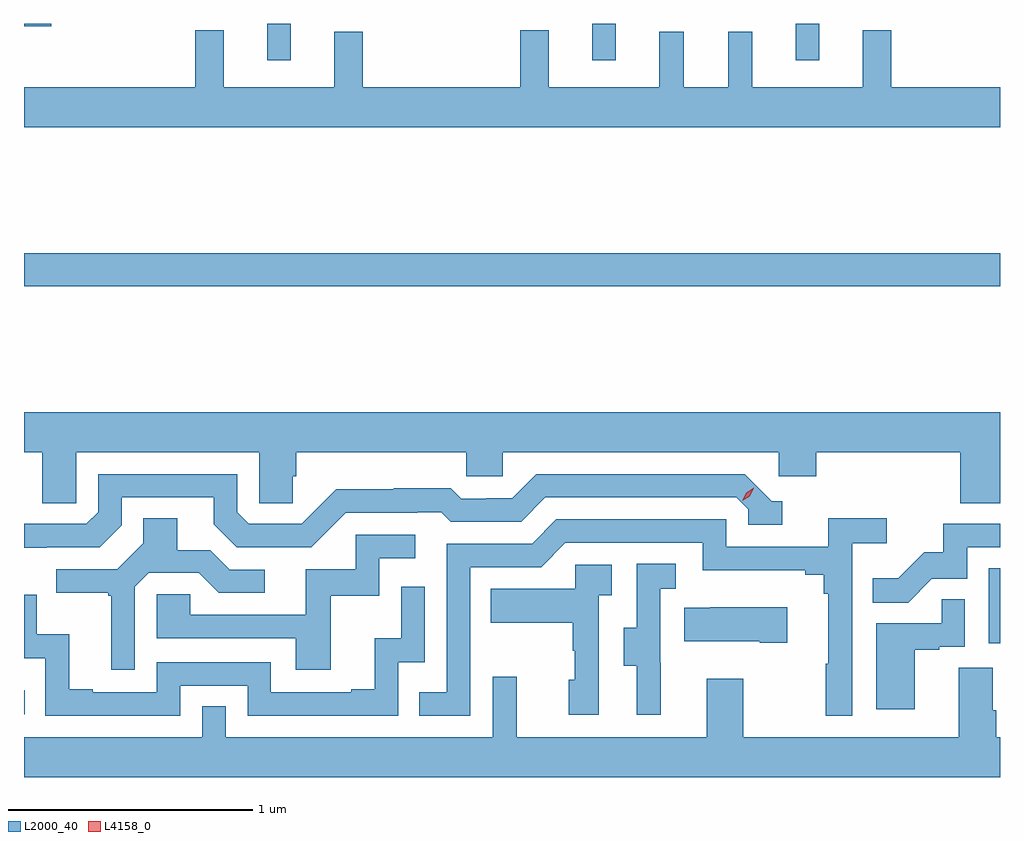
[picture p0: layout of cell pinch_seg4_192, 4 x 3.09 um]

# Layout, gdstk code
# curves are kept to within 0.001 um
import gdstk
lib = gdstk.Library(unit=1e-6, precision=1e-09)
def R(c, l, rs):  # rectangles x0, y0, x1, y1
    for r in rs: c.add(gdstk.rectangle(r[:2], r[2:], *l))
def P(c, l, *ps):  # polygons
    for p in ps: c.add(gdstk.Polygon(p, *l))
L2000_40 = (2000, 40)
L4158_0 = (4158, 0)

pinch_seg4_192 = lib.new_cell('pinch_seg4_192')
R(pinch_seg4_192, L2000_40, [(971.486,825.051,971.489,825.148), (975.44,825.342,975.486,825.649), (971.486,826.804,975.486,826.94), (972.482,827.73,972.579,827.881), (973.814,827.73,973.911,827.881), (974.649,827.73,974.746,827.881), (971.486,827.871,971.597,827.881)])
P(pinch_seg4_192, L2000_40, [(975.486,827.62),(975.041,827.62),(975.041,827.854),(974.924,827.854),(974.924,827.62),(974.471,827.62),(974.471,827.848),(974.372,827.848),(974.372,827.62),(974.189,827.62),(974.189,827.848),(974.09,827.848),(974.09,827.62),(973.637,827.62),(973.637,827.854),(973.519,827.854),(973.519,827.62),(972.875,827.62),(972.875,827.848),(972.758,827.848),(972.758,827.62),(972.305,827.62),(972.305,827.854),(972.187,827.854),(972.187,827.62),(971.486,827.62),(971.486,827.456),(975.486,827.456)],
  [(971.7,826.124),(972.45,826.124),(972.45,825.916),(972.587,825.916),(972.587,826.026),(972.602,826.026),(972.602,826.124),(973.299,826.124),(973.299,826.026),(973.449,826.026),(973.449,826.124),(974.58,826.124),(974.58,826.026),(974.732,826.026),(974.732,826.124),(975.323,826.124),(975.323,825.916),(975.486,825.916),(975.486,826.288),(971.486,826.288),(971.486,826.124),(971.561,826.124),(971.561,825.916),(971.7,825.916)],
  [(971.58,825.735),(971.796,825.735),(971.886,825.825),(971.886,825.939),(972.263,825.939),(972.263,825.829),(972.357,825.735),(972.663,825.735),(972.804,825.876),(973.097,825.876),(973.097,825.879),(973.196,825.879),(973.235,825.84),(973.524,825.84),(973.623,825.939),(974.406,825.939),(974.454,825.891),(974.454,825.828),(974.593,825.828),(974.593,825.924),(974.55,825.924),(974.439,826.035),(973.586,826.035),(973.487,825.936),(973.38,825.936),(973.38,825.933),(973.277,825.933),(973.235,825.976),(973.002,825.976),(973.002,825.973),(972.766,825.973),(972.624,825.831),(972.408,825.831),(972.36,825.879),(972.36,826.035),(971.79,826.035),(971.79,825.879),(971.742,825.831),(971.486,825.831),(971.486,825.734)],
  [(971.94,825.573),(971.997,825.63),(972.203,825.63),(972.284,825.549),(972.472,825.549),(972.472,825.642),(972.33,825.642),(972.25,825.722),(972.115,825.722),(972.115,825.854),(971.975,825.854),(971.975,825.752),(971.868,825.645),(971.619,825.645),(971.619,825.548),(971.832,825.548),(971.832,825.537),(971.843,825.537),(971.843,825.234),(971.94,825.234)],
  [(973.314,825.654),(973.605,825.654),(973.704,825.753),(974.268,825.753),(974.268,825.641),(974.687,825.641),(974.687,825.622),(974.764,825.622),(974.764,825.545),(974.783,825.545),(974.783,825.257),(974.772,825.257),(974.772,825.045),(974.88,825.045),(974.88,825.752),(975.022,825.752),(975.022,825.854),(974.783,825.854),(974.783,825.738),(974.364,825.738),(974.364,825.849),(973.667,825.849),(973.568,825.75),(973.218,825.75),(973.218,825.141),(973.105,825.141),(973.105,825.045),(973.314,825.045)],
  [(975.207,825.606),(975.351,825.606),(975.351,825.735),(975.486,825.735),(975.486,825.831),(975.253,825.831),(975.253,825.714),(975.176,825.714),(975.069,825.607),(974.965,825.607),(974.965,825.508),(975.109,825.508)],
  [(972.743,825.537),(972.942,825.537),(972.942,825.69),(973.09,825.69),(973.09,825.786),(972.846,825.786),(972.846,825.645),(972.641,825.645),(972.641,825.459),(972.167,825.459),(972.167,825.543),(972.03,825.543),(972.03,825.363),(972.599,825.363),(972.599,825.234),(972.743,825.234)],
  [(974.096,825.261),(974.094,825.261),(974.094,825.565),(974.158,825.565),(974.158,825.668),(973.998,825.668),(973.998,825.405),(973.943,825.405),(973.943,825.25),(973.997,825.25),(973.997,825.048),(974.096,825.048)],
  [(973.842,825.539),(973.894,825.539),(973.894,825.663),(973.746,825.663),(973.746,825.565),(973.399,825.565),(973.399,825.425),(973.734,825.425),(973.734,825.311),(973.744,825.311),(973.744,825.192),(973.718,825.192),(973.718,825.048),(973.842,825.048)],
  [(972.126,825.168),(972.402,825.168),(972.402,825.045),(973.02,825.045),(973.02,825.264),(973.128,825.264),(973.128,825.574),(973.032,825.574),(973.032,825.362),(972.923,825.362),(972.923,825.154),(972.827,825.154),(972.827,825.141),(972.498,825.141),(972.498,825.264),(972.03,825.264),(972.03,825.141),(971.767,825.141),(971.767,825.154),(971.671,825.154),(971.671,825.379),(971.538,825.379),(971.538,825.54),(971.486,825.54),(971.486,825.281),(971.574,825.281),(971.574,825.045),(972.126,825.045)],
  [(975.136,825.315),(975.236,825.315),(975.236,825.327),(975.342,825.327),(975.342,825.521),(975.247,825.521),(975.247,825.423),(974.978,825.423),(974.978,825.072),(975.136,825.072)],
  [(974.614,825.49),(974.299,825.49),(974.299,825.487),(974.191,825.487),(974.191,825.35),(974.501,825.35),(974.501,825.343),(974.614,825.343)],
  [(975.486,824.956),(975.47,824.956),(975.47,825.068),(975.457,825.068),(975.457,825.242),(975.317,825.242),(975.317,824.956),(974.433,824.956),(974.433,825.196),(974.285,825.196),(974.285,824.956),(973.505,824.956),(973.505,825.205),(973.407,825.205),(973.407,824.956),(972.312,824.956),(972.312,825.083),(972.216,825.083),(972.216,824.956),(971.486,824.956),(971.486,824.792),(975.486,824.792)])
P(pinch_seg4_192, L4158_0, [(974.43,825.925),(974.43,825.925),(974.446,825.958),(974.476,825.978),(974.476,825.978),(974.476,825.978),(974.461,825.945),(974.43,825.925)])

lib.write_gds('pinch_seg4_192.gds')
